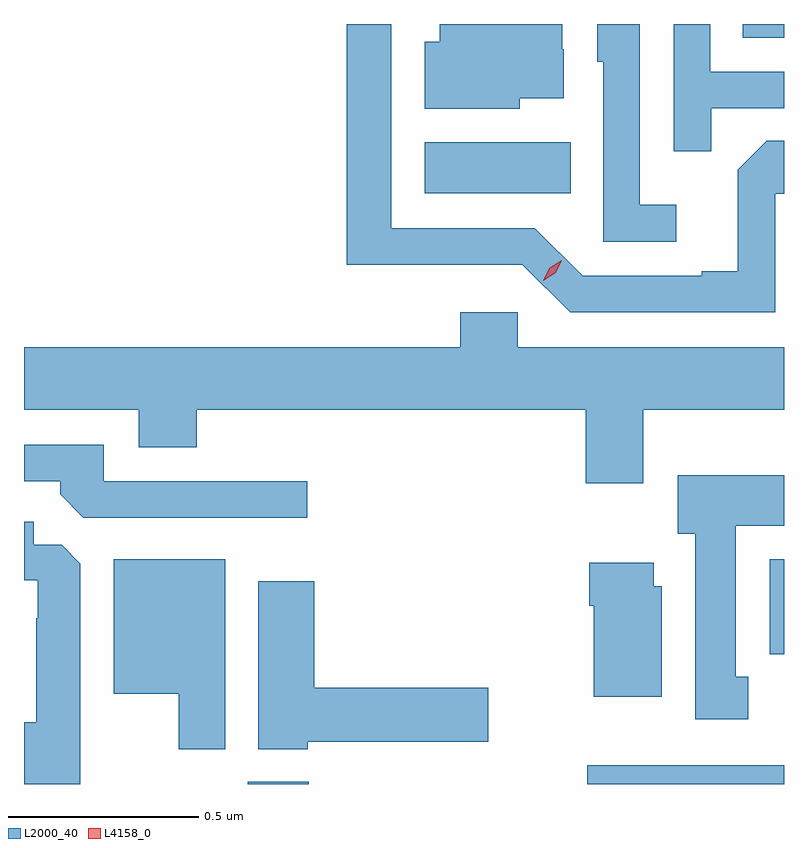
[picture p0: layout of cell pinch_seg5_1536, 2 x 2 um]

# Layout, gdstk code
import gdstk
lib = gdstk.Library(unit=1e-6, precision=1e-09)
def R(c, l, rs):  # rectangles x0, y0, x1, y1
    for r in rs: c.add(gdstk.rectangle(r[:2], r[2:], *l))
def P(c, l, *ps):  # polygons
    for p in ps: c.add(gdstk.Polygon(p, *l))
L2000_40 = (2000, 40)
L4158_0 = (4158, 0)

pinch_seg5_1536 = lib.new_cell('pinch_seg5_1536')
R(pinch_seg5_1536, L2000_40, [(138.238,890.407,138.398,890.413), (139.131,890.407,139.649,890.457), (139.611,890.748,139.649,890.998), (138.704,891.962,139.088,892.096), (139.54,892.371,139.649,892.407)])
P(pinch_seg5_1536, L2000_40, [(139.626,891.96),(139.649,891.96),(139.649,892.1),(139.603,892.1),(139.527,892.024),(139.527,891.757),(139.433,891.757),(139.433,891.744),(139.119,891.744),(138.993,891.87),(138.616,891.87),(138.616,892.407),(138.498,892.407),(138.498,891.773),(138.738,891.773),(138.738,891.774),(138.96,891.774),(139.086,891.648),(139.626,891.648)],
  [(139.366,891.931),(139.269,891.931),(139.269,892.407),(139.158,892.407),(139.158,892.308),(139.173,892.308),(139.173,891.834),(139.366,891.834)],
  [(138.954,892.211),(139.069,892.211),(139.069,892.34),(139.065,892.34),(139.065,892.407),(138.743,892.407),(138.743,892.36),(138.704,892.36),(138.704,892.184),(138.954,892.184)],
  [(139.457,892.185),(139.649,892.185),(139.649,892.281),(139.455,892.281),(139.455,892.407),(139.359,892.407),(139.359,892.072),(139.457,892.072)],
  [(139.279,891.392),(139.649,891.392),(139.649,891.556),(138.948,891.556),(138.948,891.649),(138.797,891.649),(138.797,891.556),(137.649,891.556),(137.649,891.392),(137.951,891.392),(137.951,891.293),(138.104,891.293),(138.104,891.392),(139.127,891.392),(139.127,891.198),(139.279,891.198)],
  [(138.394,891.204),(137.859,891.204),(137.859,891.3),(137.649,891.3),(137.649,891.204),(137.744,891.204),(137.744,891.17),(137.805,891.108),(138.394,891.108)],
  [(139.555,890.689),(139.522,890.689),(139.522,891.086),(139.649,891.086),(139.649,891.22),(139.37,891.22),(139.37,891.066),(139.415,891.066),(139.415,890.577),(139.555,890.577)],
  [(137.797,890.987),(137.748,891.036),(137.674,891.036),(137.674,891.097),(137.649,891.097),(137.649,890.943),(137.685,890.943),(137.685,890.843),(137.681,890.843),(137.681,890.569),(137.649,890.569),(137.649,890.407),(137.797,890.407)],
  [(138.178,890.998),(137.885,890.998),(137.885,890.645),(138.056,890.645),(138.056,890.499),(138.178,890.499)],
  [(139.327,890.928),(139.306,890.928),(139.306,890.989),(139.136,890.989),(139.136,890.876),(139.148,890.876),(139.148,890.636),(139.327,890.636)],
  [(138.396,890.518),(138.871,890.518),(138.871,890.66),(138.413,890.66),(138.413,890.941),(138.266,890.941),(138.266,890.498),(138.396,890.498)])
P(pinch_seg5_1536, L4158_0, [(139.016,891.732),(139.016,891.733),(139.033,891.766),(139.064,891.785),(139.064,891.785),(139.064,891.785),(139.048,891.752),(139.016,891.732)])

lib.write_gds('pinch_seg5_1536.gds')
